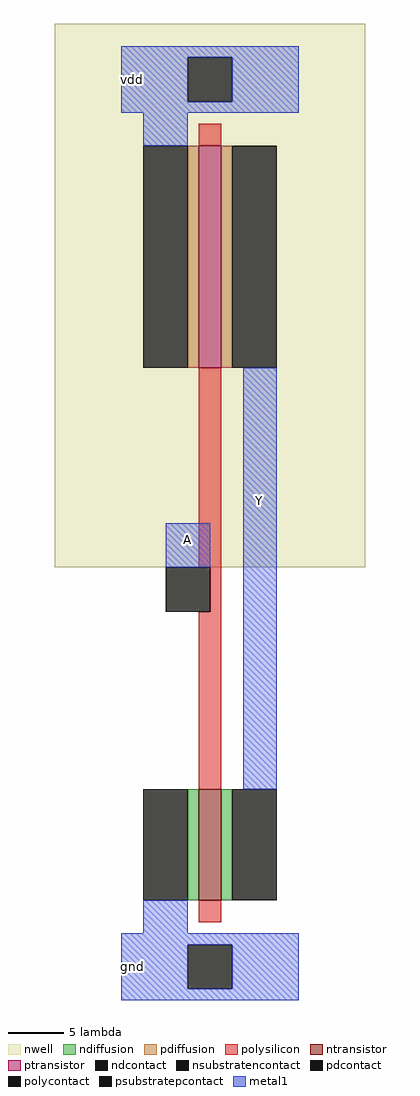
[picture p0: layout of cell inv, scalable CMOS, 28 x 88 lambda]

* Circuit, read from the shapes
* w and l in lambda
.subckt inv A Y vdd gnd
M1 Y A gnd gnd nfet w=10 l=2
M2 Y A vdd vdd pfet w=20 l=2
.ends

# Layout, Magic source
magic
tech scmos
<< nwell >>
rect -6 36 22 85
<< ndiffusion >>
rect 6 6 7 16
rect 9 6 10 16
<< pdiffusion >>
rect 6 54 7 74
rect 9 54 10 74
<< polysilicon >>
rect 7 4 9 6
rect 7 16 9 32
rect 8 32 9 36
rect 7 36 9 54
rect 7 74 9 76
<< ntransistor >>
rect 7 6 9 16
<< ptransistor >>
rect 7 54 9 74
<< ndcontact >>
rect 2 6 6 16
rect 10 6 14 16
<< pdcontact >>
rect 2 54 6 74
rect 10 54 14 74
<< polycontact >>
rect 4 32 8 36
<< psubstratepcontact >>
rect 6 -2 10 2
<< nsubstratencontact >>
rect 6 78 10 82
<< metal1 >>
rect 0 -3 16 -2
rect 0 -2 6 2
rect 10 -2 16 2
rect 0 2 16 3
rect 2 3 6 6
rect 11 16 14 54
rect 4 36 8 40
rect 2 74 6 77
rect 0 77 16 78
rect 0 78 6 82
rect 10 78 16 82
rect 0 82 16 83
<< labels >>
rlabel metal1 s 4 37 8 40 0 A
port 1 nsew signal input
rlabel metal1 s 11 40 14 44 0 Y
port 2 nsew signal output
rlabel metal1 s 0 77 2 83 0 vdd
port 3 nsew power bidirectional
rlabel metal1 s 0 -3 2 3 0 gnd
port 4 nsew ground bidirectional
<< properties >>
string FIXED_BBOX 0 0 16 80
<< end >>
